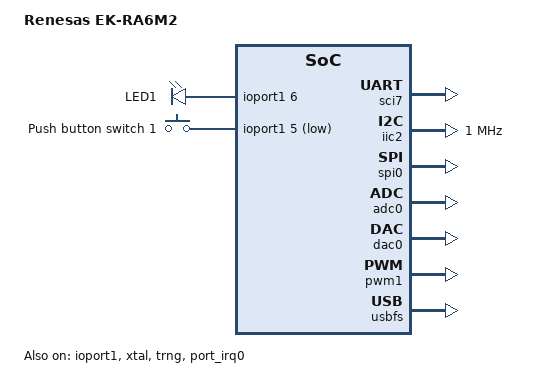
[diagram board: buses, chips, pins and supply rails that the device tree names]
/*
 * Copyright (c) 2024-2025 Renesas Electronics Corporation
 * SPDX-License-Identifier: Apache-2.0
 */

/dts-v1/;

#include <renesas/ra/ra6/r7fa6m2af3cfb.dtsi>
#include <dt-bindings/gpio/gpio.h>
#include <dt-bindings/input/input-event-codes.h>
#include <zephyr/dt-bindings/adc/adc.h>

#include "ek_ra6m2-pinctrl.dtsi"

/ {
	model = "Renesas EK-RA6M2";
	compatible = "renesas,ra6m2", "renesas,ra";

	chosen {
		zephyr,sram = &sram0;
		zephyr,flash-controller = &flash1;
		zephyr,flash = &flash0;
		zephyr,console = &uart7;
		zephyr,shell-uart = &uart7;
		zephyr,entropy = &trng;
	};

	leds {
		compatible = "gpio-leds";
		led1: led1 {
			gpios = <&ioport1 6 GPIO_ACTIVE_HIGH>;
			label = "LED1";
		};
	};

	buttons {
		compatible = "gpio-keys";
		button0: s1 {
			gpios = <&ioport1 5 (GPIO_PULL_UP | GPIO_ACTIVE_LOW)>;
			label = "Push button switch 1";
			zephyr,code = <INPUT_KEY_0>;
		};
	};

	aliases {
		led0 = &led1;
		sw0 = &button0;
	};
};

&sci7 {
	pinctrl-0 = <&sci7_default>;
	pinctrl-names = "default";
	status = "okay";
	uart7: uart {
		current-speed = <115200>;
		status = "okay";
	};
};

&iic2 {
	status = "okay";
	#address-cells = <1>;
	#size-cells = <0>;
	interrupts = <91 1>, <92 1>, <93 1>, <94 1>;
	interrupt-names = "rxi", "txi", "tei", "eri";
	clock-frequency = <DT_FREQ_M(1)>;
	pinctrl-0 = <&iic2_default>;
	pinctrl-names = "default";
};

&spi0 {
	pinctrl-0 = <&spi0_default>;
	pinctrl-names = "default";
	status = "okay";
};

&ioport1 {
	status = "okay";
};

&xtal {
	clock-frequency = <DT_FREQ_M(12)>;
	mosel = <0>;
	#clock-cells = <0>;
	status = "okay";
};

&subclk {
	status = "okay";
};

&pll {
	clocks = <&xtal>;
	div = <1>;
	mul = <20 0>;
	status = "okay";
};

&trng {
	status ="okay";
};

&adc0 {
	status = "okay";
	pinctrl-0 = <&adc0_default>;
	pinctrl-names = "default";
};

&dac0 {
	pinctrl-0 = <&dac0_default>;
	pinctrl-names = "default";
	status = "okay";
};

&port_irq0 {
	interrupts = <41 12>;
	status = "okay";
};

&pwm1 {
	pinctrl-0 = <&pwm1_default>;
	pinctrl-names = "default";
	interrupts = <63 1>, <64 1>;
	interrupt-names = "gtioca", "overflow";
	status = "okay";
};

&flash1 {
	partitions {
		compatible = "fixed-partitions";
		#address-cells = <1>;
		#size-cells = <1>;

		storage_partition: partition@0 {
			label = "storage";
			reg = <0X0 DT_SIZE_K(32)>;
		};
	};
};

&uclk {
	clocks = <&pll>;
	div = <5>;
	status = "okay";
};

&usbfs {
	pinctrl-0 = <&usbfs_default>;
	pinctrl-names = "default";
	maximum-speed = "full-speed";
	status = "okay";
	zephyr_udc0: udc {
		status = "okay";
	};
};
